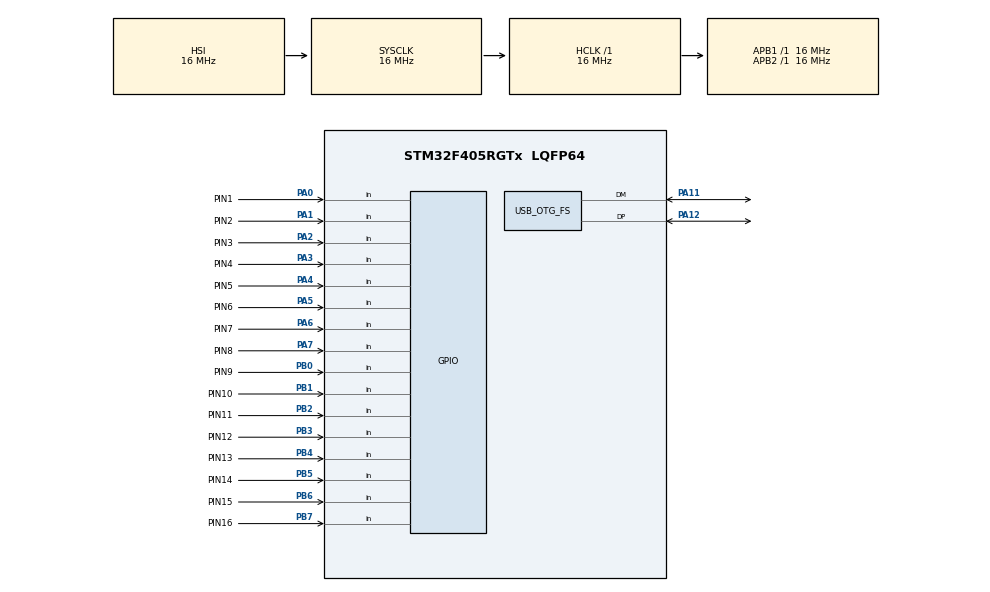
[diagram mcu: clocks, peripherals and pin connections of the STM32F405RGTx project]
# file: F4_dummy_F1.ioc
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FREERTOS.BinarySemaphores01=DataInSem01,Dynamic,NULL;USB_PlugIN_Sem,Dynamic,NULL
FREERTOS.Queues01=RECV_Queue,16,32,1,Dynamic,NULL,NULL;RESP_Queue,16,32,1,Dynamic,NULL,NULL
FREERTOS.Tasks01=defaultTask,24,128,StartDefaultTask,Default,NULL,Dynamic,NULL,NULL;QueuePushTask,32,128,QueuePush,Default,NULL,Dynamic,NULL,NULL;CMD_RespTask,32,128,CMD_Resp,Default,NULL,Dynamic,NULL,NULL;IWDG_FeedTask,40,128,IWDG_Feed,Default,NULL,Dynamic,NULL,NULL
FREERTOS.configUSE_NEWLIB_REENTRANT=1
IWDG.Prescaler=IWDG_PRESCALER_64
IWDG.Reload=1600
Mcu.Family=STM32F4
Mcu.Name=STM32F405RGTx
Mcu.Package=LQFP64
NVIC.OTG_FS_IRQn=true\:5\:0\:false\:false\:true\:true\:false\:true
NVIC.PriorityGroup=NVIC_PRIORITYGROUP_4
NVIC.TIM1_UP_TIM10_IRQn=true\:15\:0\:false\:false\:true\:false\:false\:true
NVIC.TimeBase=TIM1_UP_TIM10_IRQn
NVIC.TimeBaseIP=TIM1
PA0-WKUP.GPIO_Label=PIN1
PA0-WKUP.Signal=GPIO_Input
PA1.GPIO_Label=PIN2
PA1.GPIO_PuPd=GPIO_PULLDOWN
PA1.Signal=GPIO_Input
PA11.Mode=Device_Only
PA11.Signal=USB_OTG_FS_DM
PA12.Mode=Device_Only
PA12.Signal=USB_OTG_FS_DP
PA13.Mode=Serial_Wire
PA13.Signal=SYS_JTMS-SWDIO
PA14.Mode=Serial_Wire
PA14.Signal=SYS_JTCK-SWCLK
PA2.GPIO_Label=PIN3
PA2.GPIO_PuPd=GPIO_PULLDOWN
PA2.Signal=GPIO_Input
PA3.GPIO_Label=PIN4
PA3.GPIO_PuPd=GPIO_PULLDOWN
PA3.Signal=GPIO_Input
PA4.GPIO_Label=PIN5
PA4.GPIO_PuPd=GPIO_PULLDOWN
PA4.Signal=GPIO_Input
PA5.GPIO_Label=PIN6
PA5.GPIO_PuPd=GPIO_PULLDOWN
PA5.Signal=GPIO_Input
PA6.GPIO_Label=PIN7
PA6.GPIO_PuPd=GPIO_PULLDOWN
PA6.Signal=GPIO_Input
PA7.GPIO_Label=PIN8
PA7.GPIO_PuPd=GPIO_PULLDOWN
PA7.Signal=GPIO_Input
PB0.GPIO_Label=PIN9
PB0.GPIO_PuPd=GPIO_PULLDOWN
PB0.Signal=GPIO_Input
PB1.GPIO_Label=PIN10
PB1.GPIO_PuPd=GPIO_PULLDOWN
PB1.Signal=GPIO_Input
PB2.GPIO_Label=PIN11
PB2.GPIO_PuPd=GPIO_PULLDOWN
PB2.Signal=GPIO_Input
PB3.GPIO_Label=PIN12
PB3.GPIO_PuPd=GPIO_PULLDOWN
PB3.Signal=GPIO_Input
PB4.GPIO_Label=PIN13
PB4.GPIO_PuPd=GPIO_PULLDOWN
PB4.Signal=GPIO_Input
PB5.GPIO_Label=PIN14
PB5.GPIO_PuPd=GPIO_PULLDOWN
PB5.Signal=GPIO_Input
PB6.GPIO_Label=PIN15
PB6.GPIO_PuPd=GPIO_PULLDOWN
PB6.Signal=GPIO_Input
PB7.GPIO_Label=PIN16
PB7.GPIO_PuPd=GPIO_PULLDOWN
PB7.Signal=GPIO_Input
PC14-OSC32_IN.Mode=LSE-External-Oscillator
PC14-OSC32_IN.Signal=RCC_OSC32_IN
PC15-OSC32_OUT.Mode=LSE-External-Oscillator
PC15-OSC32_OUT.Signal=RCC_OSC32_OUT
PH0-OSC_IN.Mode=HSE-External-Oscillator
PH0-OSC_IN.Signal=RCC_OSC_IN
PH1-OSC_OUT.Mode=HSE-External-Oscillator
PH1-OSC_OUT.Signal=RCC_OSC_OUT
ProjectManager.HeapSize=0x200
ProjectManager.StackSize=0x400
ProjectManager.TargetToolchain=STM32CubeIDE
RCC.48MHZClocksFreq_Value=48000000
RCC.AHBFreq_Value=16000000
RCC.APB1Freq_Value=16000000
RCC.APB2Freq_Value=16000000
RCC.CortexFreq_Value=16000000
RCC.HSE_VALUE=12000000
RCC.HSI_VALUE=16000000
RCC.PLLM=6
RCC.PLLN=72
RCC.PLLQ=3
RCC.SYSCLKFreq_VALUE=16000000
RCC.VCOOutputFreq_Value=144000000
USB_DEVICE.CLASS_NAME_FS=CDC
USB_DEVICE.VirtualMode-CDC_FS=Cdc
USB_DEVICE.VirtualModeFS=Cdc_FS
USB_OTG_FS.VirtualMode=Device_Only
VP_FREERTOS_VS_CMSIS_V2.Mode=CMSIS_V2
VP_IWDG_VS_IWDG.Mode=IWDG_Activate
VP_SYS_VS_tim1.Mode=TIM1
VP_USB_DEVICE_VS_USB_DEVICE_CDC_FS.Mode=CDC_FS
board=custom

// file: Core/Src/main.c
/* USER CODE BEGIN Header */
/**
  ******************************************************************************
  * @file           : main.c
  * @brief          : Main program body
  ******************************************************************************
  * @attention
  *
  * Copyright (c) 2023 STMicroelectronics.
  * All rights reserved.
  *
  * This software is licensed under terms that can be found in the LICENSE file
  * in the root directory of this software component.
  * If no LICENSE file comes with this software, it is provided AS-IS.
  *
  ******************************************************************************
  */
/* USER CODE END Header */
#include "main.h"
#include "cmsis_os.h"
#include "usb_device.h"

/* USER CODE BEGIN Includes */
#include "Public.h"
/* USER CODE END Includes */

IWDG_HandleTypeDef hiwdg;

/* Definitions for defaultTask */
osThreadId_t defaultTaskHandle;
const osThreadAttr_t defaultTask_attributes = {
  .name = "defaultTask",
  .stack_size = 128 * 4,
  .priority = (osPriority_t) osPriorityNormal,
};
/* Definitions for QueuePushTask */
osThreadId_t QueuePushTaskHandle;
const osThreadAttr_t QueuePushTask_attributes = {
  .name = "QueuePushTask",
  .stack_size = 128 * 4,
  .priority = (osPriority_t) osPriorityAboveNormal,
};
/* Definitions for CMD_RespTask */
osThreadId_t CMD_RespTaskHandle;
const osThreadAttr_t CMD_RespTask_attributes = {
  .name = "CMD_RespTask",
  .stack_size = 128 * 4,
  .priority = (osPriority_t) osPriorityAboveNormal,
};
/* Definitions for IWDG_FeedTask */
osThreadId_t IWDG_FeedTaskHandle;
const osThreadAttr_t IWDG_FeedTask_attributes = {
  .name = "IWDG_FeedTask",
  .stack_size = 128 * 4,
  .priority = (osPriority_t) osPriorityHigh,
};
/* Definitions for RECV_Queue */
osMessageQueueId_t RECV_QueueHandle;
const osMessageQueueAttr_t RECV_Queue_attributes = {
  .name = "RECV_Queue"
};
/* Definitions for RESP_Queue */
osMessageQueueId_t RESP_QueueHandle;
const osMessageQueueAttr_t RESP_Queue_attributes = {
  .name = "RESP_Queue"
};
/* Definitions for DataInSem01 */
osSemaphoreId_t DataInSem01Handle;
const osSemaphoreAttr_t DataInSem01_attributes = {
  .name = "DataInSem01"
};
/* Definitions for USB_PlugIN_Sem */
osSemaphoreId_t USB_PlugIN_SemHandle;
const osSemaphoreAttr_t USB_PlugIN_Sem_attributes = {
  .name = "USB_PlugIN_Sem"
};
/* USER CODE BEGIN PV */
uint8_t R_buffer[32];
uint32_t len = 0;
volatile uint32_t IWDG_FEED = 0;
uint8_t CMD_ERROR_STATE = ERR_OK;

PinMap pin_map[] = {
    {PIN1_GPIO_Port, PIN1_Pin},
    {PIN2_GPIO_Port, PIN2_Pin},
	{PIN3_GPIO_Port, PIN3_Pin},
	{PIN4_GPIO_Port, PIN4_Pin},
	{PIN5_GPIO_Port, PIN5_Pin},
	{PIN6_GPIO_Port, PIN6_Pin},
	{PIN7_GPIO_Port, PIN7_Pin},
	{PIN8_GPIO_Port, PIN8_Pin},
	{PIN9_GPIO_Port, PIN9_Pin},
	{PIN10_GPIO_Port, PIN10_Pin},
	{PIN11_GPIO_Port, PIN11_Pin},
	{PIN12_GPIO_Port, PIN12_Pin},
	{PIN13_GPIO_Port, PIN13_Pin},
	{PIN14_GPIO_Port, PIN14_Pin},
	{PIN15_GPIO_Port, PIN15_Pin},
	{PIN16_GPIO_Port, PIN16_Pin},
};
/* USER CODE END PV */

void SystemClock_Config(void);
static void MX_GPIO_Init(void);
static void MX_IWDG_Init(void);
void StartDefaultTask(void *argument);
void QueuePush(void *argument);
void CMD_Resp(void *argument);
void IWDG_Feed(void *argument);

/* USER CODE BEGIN 0 */
int _write(int file, char *ptr, int len) {
    static uint8_t rc = USBD_OK;
#ifdef USE_BLOCKING_USBVCOM
    do {
        rc = CDC_Transmit_FS((uint8_t *)ptr, len);
    } while (USBD_BUSY == rc);

    if (USBD_FAIL == rc) {
        // NOTE: Should never reach here.
        // TODO: Handle this error.
        return 0;
    }
#else
    rc = CDC_Transmit_FS((uint8_t *)ptr, len);
#endif
    return len;
}

/* USER CODE END 0 */

int main(void)
{

  /* MCU Configuration--------------------------------------------------------*/

  /* Reset of all peripherals, Initializes the Flash interface and the Systick. */
  HAL_Init();

  /* Configure the system clock */
  SystemClock_Config();

  /* Initialize all configured peripherals */
  MX_GPIO_Init();
  MX_IWDG_Init();
  /* USER CODE BEGIN 2 */
  MX_USB_DEVICE_Init();
  /* USER CODE END 2 */

  /* Init scheduler */
  osKernelInitialize();

  /* Create the semaphores(s) */
  /* creation of DataInSem01 */
  DataInSem01Handle = osSemaphoreNew(1, 0, &DataInSem01_attributes);

  /* creation of USB_PlugIN_Sem */
  USB_PlugIN_SemHandle = osSemaphoreNew(1, 0, &USB_PlugIN_Sem_attributes);

  /* Create the queue(s) */
  /* creation of RECV_Queue */
  RECV_QueueHandle = osMessageQueueNew (16, 32, &RECV_Queue_attributes);

  /* creation of RESP_Queue */
  RESP_QueueHandle = osMessageQueueNew (16, 32, &RESP_Queue_attributes);

  /* Create the thread(s) */
  /* creation of defaultTask */
  defaultTaskHandle = osThreadNew(StartDefaultTask, NULL, &defaultTask_attributes);

  /* creation of QueuePushTask */
  QueuePushTaskHandle = osThreadNew(QueuePush, NULL, &QueuePushTask_attributes);

  /* creation of CMD_RespTask */
  CMD_RespTaskHandle = osThreadNew(CMD_Resp, NULL, &CMD_RespTask_attributes);

  /* creation of IWDG_FeedTask */
  IWDG_FeedTaskHandle = osThreadNew(IWDG_Feed, NULL, &IWDG_FeedTask_attributes);

  /* Start scheduler */
  osKernelStart();

  /* We should never get here as control is now taken by the scheduler */
  /* Infinite loop */
  while (1)
  {

  }
}

void SystemClock_Config(void)
{
  RCC_OscInitTypeDef RCC_OscInitStruct = {0};
  RCC_ClkInitTypeDef RCC_ClkInitStruct = {0};

  /** Configure the main internal regulator output voltage
  */
  __HAL_RCC_PWR_CLK_ENABLE();
  __HAL_PWR_VOLTAGESCALING_CONFIG(PWR_REGULATOR_VOLTAGE_SCALE1);
  /** Initializes the RCC Oscillators according to the specified parameters
  * in the RCC_OscInitTypeDef structure.
  */
  RCC_OscInitStruct.OscillatorType = RCC_OSCILLATORTYPE_HSI|RCC_OSCILLATORTYPE_LSI
                              |RCC_OSCILLATORTYPE_HSE;
  RCC_OscInitStruct.HSEState = RCC_HSE_ON;
  RCC_OscInitStruct.HSIState = RCC_HSI_ON;
  RCC_OscInitStruct.HSICalibrationValue = RCC_HSICALIBRATION_DEFAULT;
  RCC_OscInitStruct.LSIState = RCC_LSI_ON;
  RCC_OscInitStruct.PLL.PLLState = RCC_PLL_ON;
  RCC_OscInitStruct.PLL.PLLSource = RCC_PLLSOURCE_HSE;
  RCC_OscInitStruct.PLL.PLLM = 6;
  RCC_OscInitStruct.PLL.PLLN = 72;
  RCC_OscInitStruct.PLL.PLLP = RCC_PLLP_DIV2;
  RCC_OscInitStruct.PLL.PLLQ = 3;
  if (HAL_RCC_OscConfig(&RCC_OscInitStruct) != HAL_OK)
  {
    Error_Handler();
  }
  /** Initializes the CPU, AHB and APB buses clocks
  */
  RCC_ClkInitStruct.ClockType = RCC_CLOCKTYPE_HCLK|RCC_CLOCKTYPE_SYSCLK
                              |RCC_CLOCKTYPE_PCLK1|RCC_CLOCKTYPE_PCLK2;
  RCC_ClkInitStruct.SYSCLKSource = RCC_SYSCLKSOURCE_HSI;
  RCC_ClkInitStruct.AHBCLKDivider = RCC_SYSCLK_DIV1;
  RCC_ClkInitStruct.APB1CLKDivider = RCC_HCLK_DIV1;
  RCC_ClkInitStruct.APB2CLKDivider = RCC_HCLK_DIV1;

  if (HAL_RCC_ClockConfig(&RCC_ClkInitStruct, FLASH_LATENCY_0) != HAL_OK)
  {
    Error_Handler();
  }
}

static void MX_IWDG_Init(void)
{

  hiwdg.Instance = IWDG;
  hiwdg.Init.Prescaler = IWDG_PRESCALER_64;
  hiwdg.Init.Reload = 1600;
  if (HAL_IWDG_Init(&hiwdg) != HAL_OK)
  {
    Error_Handler();
  }

}

static void MX_GPIO_Init(void)
{
  GPIO_InitTypeDef GPIO_InitStruct = {0};

  /* GPIO Ports Clock Enable */
  __HAL_RCC_GPIOC_CLK_ENABLE();
  __HAL_RCC_GPIOH_CLK_ENABLE();
  __HAL_RCC_GPIOA_CLK_ENABLE();
  __HAL_RCC_GPIOB_CLK_ENABLE();

  /*Configure GPIO pin : PIN1_Pin */
  GPIO_InitStruct.Pin = PIN1_Pin;
  GPIO_InitStruct.Mode = GPIO_MODE_INPUT;
  GPIO_InitStruct.Pull = GPIO_NOPULL;
  HAL_GPIO_Init(PIN1_GPIO_Port, &GPIO_InitStruct);

  /*Configure GPIO pins : PIN2_Pin PIN3_Pin PIN4_Pin PIN5_Pin
                           PIN6_Pin PIN7_Pin PIN8_Pin */
  GPIO_InitStruct.Pin = PIN2_Pin|PIN3_Pin|PIN4_Pin|PIN5_Pin
                          |PIN6_Pin|PIN7_Pin|PIN8_Pin;
  GPIO_InitStruct.Mode = GPIO_MODE_INPUT;
  GPIO_InitStruct.Pull = GPIO_PULLDOWN;
  HAL_GPIO_Init(GPIOA, &GPIO_InitStruct);

  /*Configure GPIO pins : PIN9_Pin PIN10_Pin PIN11_Pin PIN12_Pin
                           PIN13_Pin PIN14_Pin PIN15_Pin PIN16_Pin */
  GPIO_InitStruct.Pin = PIN9_Pin|PIN10_Pin|PIN11_Pin|PIN12_Pin
                          |PIN13_Pin|PIN14_Pin|PIN15_Pin|PIN16_Pin;
  GPIO_InitStruct.Mode = GPIO_MODE_INPUT;
  GPIO_InitStruct.Pull = GPIO_PULLDOWN;
  HAL_GPIO_Init(GPIOB, &GPIO_InitStruct);

}

/* USER CODE BEGIN 4 */
void CMD_Split(uint8_t * cmd, uint8_t * cmd_sn, uint8_t * cmd_name, uint8_t * cmd_pin, uint8_t * cmd_value, uint8_t * resp_string)
{
    uint8_t * command = cmd;
    uint8_t resp_length = 0;
    uint8_t * underscore = NULL;
    size_t length = 0;
    //get sn
    underscore = memchr(command, '_', strlen((char *)command));
    if(underscore == NULL)
    {
        //invalid cmd fmt
        CMD_ERROR_STATE = ERR_INVALID_FMT;
        return;
    }
    if((length = underscore - command)!=SN_LENGTH)
    {
        //invalid sn
        CMD_ERROR_STATE = ERR_INVALID_SN;
        return;
    }
    memcpy(cmd_sn, command, length);
    memcpy(resp_string, command, length);
    resp_length = length;
    resp_string[resp_length++] = '_';
    command += length + 1;

    //get name
    underscore = memchr(command, '_', strlen((char *)command));
    if(underscore == NULL)
    {
        //invalid cmd fmt
        CMD_ERROR_STATE = ERR_INVALID_FMT;
        return;
    }
    if((length = underscore - command) == 0||length > CMD_NAME_LENGTH)
    {
        //invalid cmd name
        CMD_ERROR_STATE = ERR_INVALID_CMD;
        return;
    }
    memcpy(cmd_name, command, length);
    command += length + 1;

    //get pin
    underscore = memchr(command, '_', strlen((char *)command));
    if(underscore == NULL)
    {
        //case read
        uint8_t * carriage_return = memchr(command, '\r', strlen((char *)command));
        if(carriage_return == NULL)
        {
            //no carriage_return
            CMD_ERROR_STATE = ERR_INVALID_FMT;
            return;
        }
        if((length = carriage_return - command) == 0||length > PIN_LENGTH)
        {
            //invalid pin name
            CMD_ERROR_STATE = ERR_INVALID_PIN;
            return;
        }
        memcpy(cmd_pin, command, length);
        return;
    }
    else
    {
        //case write
        if((length = underscore - command) == 0||length > PIN_LENGTH)
        {
            //invalid pin name
            CMD_ERROR_STATE = ERR_INVALID_PIN;
            return;
        }
        memcpy(cmd_pin, command, length);
        command += length + 1;
    }
    //get pin value
    uint8_t * carriage_return = memchr(command, '\r', strlen((char *)command));
    if(carriage_return == NULL)
    {
        //no carriage_return
        CMD_ERROR_STATE = ERR_INVALID_FMT;
        return;
    }
    if((length = carriage_return - command) != PIN_VALUE_LENGTH)
    {
        // invalid pin value
        CMD_ERROR_STATE = ERR_INVALID_VALUE;
        return;
    }
    memcpy(cmd_value, command, length);
    return;
}

void Execute_CMD(uint8_t * cmd, uint8_t * resp_string)
{
    uint8_t cmd_sn[SN_LENGTH] = {0};
    uint8_t cmd_name[CMD_NAME_LENGTH] = {0};
    uint8_t cmd_pin[PIN_LENGTH] = {0};
    uint8_t cmd_value[PIN_VALUE_LENGTH] = {0};
    uint8_t pin_num = 0;
    CMD_ERROR_STATE = ERR_OK;
    CMD_Split(cmd, cmd_sn, cmd_name, cmd_pin, cmd_value, resp_string);
    if(CMD_ERROR_STATE != ERR_OK) return;
    //get pin number
    pin_num = atoi((char *)&cmd_pin[1]);
    if(cmd_pin[0]!='P'||pin_num == 0||pin_num > 16)
    {
        CMD_ERROR_STATE = ERR_INVALID_PIN;
        return;
        //command pin invalid error
    }

    if(memcmp(cmd_name, READ_CMD, strlen((char *)READ_CMD)) == osOK)
    {
    //Read function
        GPIO_PinState result = HAL_GPIO_ReadPin(pin_map[pin_num-1].GPIO_Port, pin_map[pin_num-1].GPIO_Pin);
        uint8_t resp_length = strlen((char *)resp_string);
        sprintf((char *)&resp_string[resp_length], "%s_P%d:%c", READ_CMD, pin_num, result == GPIO_PIN_SET ? 'H' : 'L');
    }
    else if(memcmp(cmd_name, WRITE_CMD, strlen((char *)WRITE_CMD)) == osOK)
    {
    //Write function
    }
    else
    {
		CMD_ERROR_STATE = ERR_INVALID_CMD;
		return;
    }
}

osStatus_t CMD_Error_Handler(uint8_t * resp_string)
{
    if(strlen((char *)resp_string) == 0) return osError;
    const uint8_t* error_message = NULL;
    switch(CMD_ERROR_STATE){
        case ERR_INVALID_SN:
            error_message = INVALID_SN;
            break;
        case ERR_INVALID_CMD:
            error_message = INVALID_CMD;
            break;
        case ERR_INVALID_PIN:
            error_message = INVALID_PIN;
            break;
        case ERR_INVALID_VALUE:
            error_message = INVALID_VALUE;
            break;
        case ERR_INVALID_FMT:
            error_message = INVALID_FMT;
            break;
        case ERR_UNKNOWN:
            error_message = UNKNOWN_ISSUE;
            break;
        default:
            break;
    }
    if(error_message != NULL) {
        strcat((char *)resp_string, (char *)error_message);
    }
    return osOK;
}

//void HAL_PCD_ResumeCallback(PCD_HandleTypeDef *hpcd)
//{
//	osSemaphoreRelease(USB_PlugIN_SemHandle);
//}

/* USER CODE END 4 */

void StartDefaultTask(void *argument)
{
  /* init code for USB_DEVICE */
  /* USER CODE BEGIN 5 */
  uint8_t msg[32] = {0};
  uint8_t resp_string[32];
  /* Infinite loop */
  for(;;)
  {
	IWDG_FEED |= TASK1_BIT;
	if(osMessageQueueGet(RECV_QueueHandle, msg, 0, 1000)==osOK)
	{
		memset(resp_string, 0, sizeof(resp_string));
		Execute_CMD(msg, resp_string);
		if(CMD_ERROR_STATE != ERR_OK) {
			if(CMD_Error_Handler(resp_string) == osError) continue;
		}
		size_t resp_length = strlen((char*)resp_string);
		resp_string[resp_length] = '\r';
		resp_string[resp_length+1] = '\n';
		resp_string[resp_length+2] = '\0';
		while(osMessageQueuePut(RESP_QueueHandle, resp_string, 0U, 0U)==osErrorResource)
		{
			osDelay(100);
			IWDG_FEED |= TASK1_BIT;
		}
		memset(msg, 0, sizeof(msg));
	}
  }
  /* USER CODE END 5 */
}

void QueuePush(void *argument)
{
  /* USER CODE BEGIN QueuePush */
  /* Infinite loop */
  for(;;)
  {
	if(osSemaphoreAcquire(DataInSem01Handle, 1000)==osOK)
	{
		while(osMessageQueuePut(RECV_QueueHandle, R_buffer, 0U, 0U)==osErrorResource)
		{
			osDelay(100);
			IWDG_FEED |= TASK2_BIT;
		}
		memset(R_buffer, 0, 32);
	}
	IWDG_FEED |= TASK2_BIT;
  }
  /* USER CODE END QueuePush */
}

void CMD_Resp(void *argument)
{
  /* USER CODE BEGIN CMD_Resp */
  uint8_t msg[32] = {0};
  /* Infinite loop */
  for(;;)
  {
	if(osMessageQueueGet(RESP_QueueHandle, msg, 0, 1000)==osOK)
	{
	  printf("%s", msg);
	  memset(msg, 0, sizeof(msg));
	}
	IWDG_FEED |= TASK3_BIT;
  }
  /* USER CODE END CMD_Resp */
}

void IWDG_Feed(void *argument)
{
  /* USER CODE BEGIN IWDG_Feed */
  /* Infinite loop */
  for(;;)
  {
    if(IWDG_FEED == ALL_TASKS)
	{
      if(HAL_IWDG_Refresh(&hiwdg) != HAL_OK)
      {
	    Error_Handler();
      }
      IWDG_FEED = 0;
	}
	osDelay(100);
  }
  /* USER CODE END IWDG_Feed */
}

void HAL_TIM_PeriodElapsedCallback(TIM_HandleTypeDef *htim)
{
  if (htim->Instance == TIM1) {
    HAL_IncTick();
  }
}

void Error_Handler(void)
{
  __disable_irq();
  while (1)
  {
  }
}
